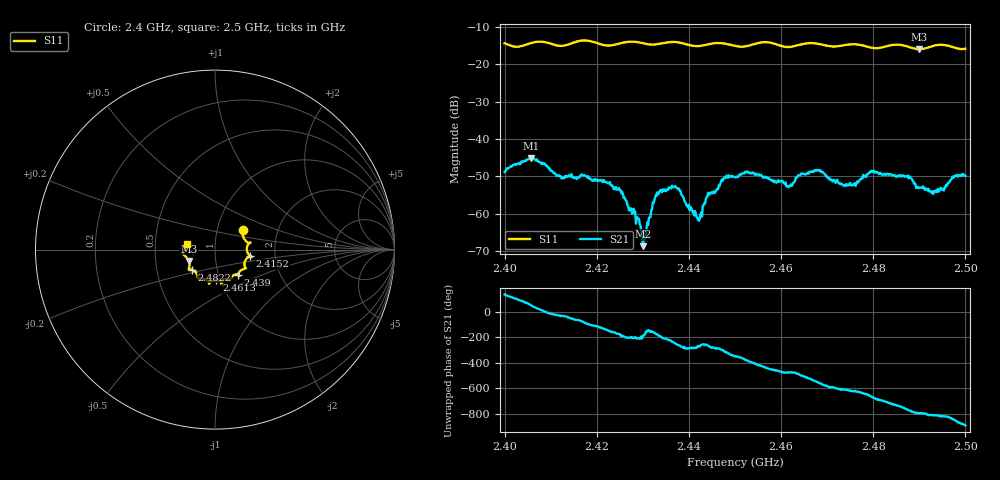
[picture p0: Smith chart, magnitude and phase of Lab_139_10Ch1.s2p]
# Hz S RI R 50
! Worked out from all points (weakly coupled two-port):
!   601 points, 2.4 GHz to 2.5 GHz, reference 50 ohm
!   highest |S21| = -45.02 dB at 2.4057 GHz (marker M1); lowest = -68.7 dB at 2.43 GHz (marker M2)
!   lowest |S11| = -15.9 dB at 2.49 GHz (marker M3), VSWR 1.38, Z = 36.9 - j4.85 ohm
!   |S11| at or under -10 dB: start of sweep to end of sweep
!   S12 and S22 are empty: the file has one direction only
!   S11 on the Smith chart (normalised r, x): 2.4 GHz: 1.33, +0.31; 2.4152 GHz: 1.48, -0.11; 2.439 GHz: 1.24, -0.36; 2.4613 GHz: 0.96, -0.34; 2.4822 GHz: 0.76, -0.17; 2.5 GHz: 0.72, +0.05
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2.4e9  0.1561 0.1112  -0.00249 0.00265  0 0  0 0
2.405667e9  0.189 0.0373  0.00346 0.00441  0 0  0 0
2.415167e9  0.1947 -0.0358  0.0014 -0.00266  0 0  0 0
2.416667e9  0.2043 -0.0418  0.001 -0.00322  0 0  0 0
2.425167e9  0.1665 -0.0965  -0.00205 0.00032  0 0  0 0
2.428833e9  0.1692 -0.105  -0.000797 0.00041  0 0  0 0
2.43e9  0.1593 -0.1085  -0.000359 8.66e-05  0 0  0 0
2.433333e9  0.1329 -0.1325  -0.00183 0.000154  0 0  0 0
2.436833e9  0.1355 -0.147  -0.00106 0.00203  0 0  0 0
2.439e9  0.1282 -0.1392  0.000146 0.00149  0 0  0 0
2.442333e9  0.0956 -0.1484  4.83e-05 0.000855  0 0  0 0
2.444333e9  0.0851 -0.1665  -9.91e-07 0.0018  0 0  0 0
2.45e9  0.0686 -0.1636  0.00302 0.000566  0 0  0 0
2.452667e9  0.0408 -0.1721  0.0034 -0.00145  0 0  0 0
2.461333e9  0.00828 -0.1709  -0.000965 -0.00214  0 0  0 0
2.466667e9  -0.0333 -0.1904  -0.00361 -0.000471  0 0  0 0
2.473833e9  -0.0851 -0.1608  -0.000843 0.00226  0 0  0 0
2.482167e9  -0.1283 -0.112  0.00309 0.00137  0 0  0 0
2.483333e9  -0.1395 -0.1104  0.00329 0.000404  0 0  0 0
2.49e9  -0.1467 -0.064  0.000649 -0.00214  0 0  0 0
2.493333e9  -0.1775 -0.0262  5.79e-05 -0.00201  0 0  0 0
2.5e9  -0.1587 0.0334  -0.00317 -0.000633  0 0  0 0
